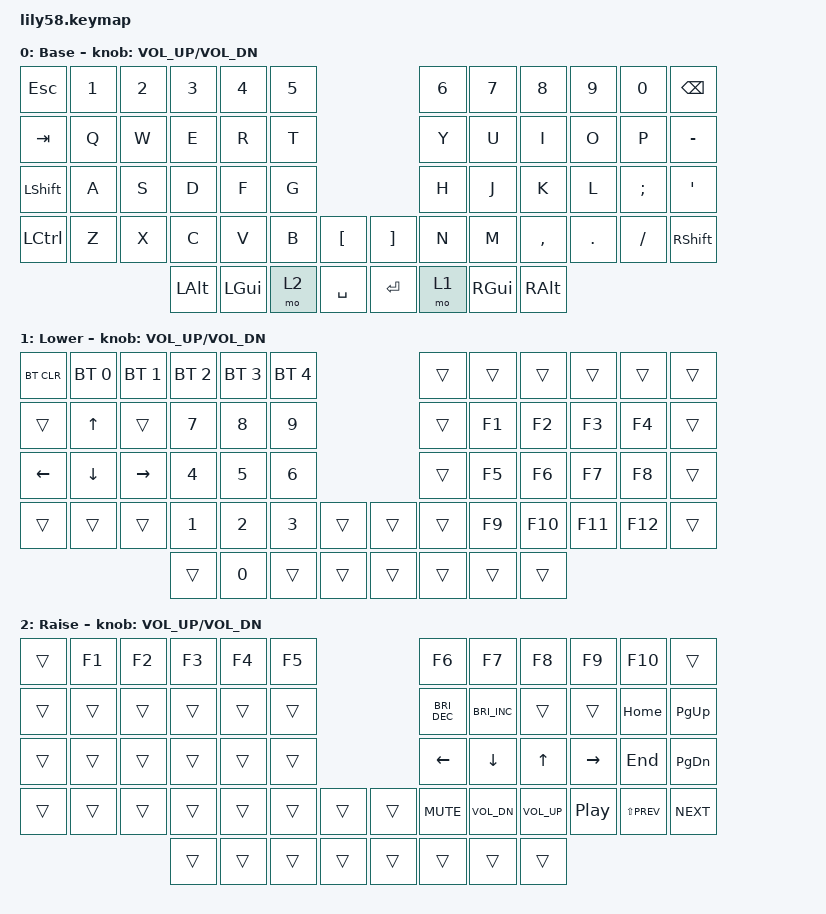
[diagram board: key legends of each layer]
/*
 * Copyright (c) 2020 The ZMK Contributors
 *
 * SPDX-License-Identifier: MIT
 */

#include <behaviors.dtsi>
#include <dt-bindings/zmk/bt.h>
#include <dt-bindings/zmk/keys.h>

/ {
    keymap {
        compatible = "zmk,keymap";

        default_layer {
            // ------------------------------------------------------------------------------------------------------------
            // |  ESC  |  1  |  2  |  3   |  4   |  5   |                   |  6   |  7    |  8    |  9   |   0   |   `   |
            // |  TAB  |  Q  |  W  |  E   |  R   |  T   |                   |  Y   |  U    |  I    |  O   |   P   |   -   |
            // |  CTRL |  A  |  S  |  D   |  F   |  G   |                   |  H   |  J    |  K    |  L   |   ;   |   '   |
            // | SHIFT |  Z  |  X  |  C   |  V   |  B   |   "["  |  |  "]"  |  N   |  M    |  ,    |  .   |   /   | SHIFT |
            //                     | ALT  | GUI  | LOWER|  SPACE |  | ENTER | RAISE| BSPC  | GUI   |

            display-name = "Base";
            bindings = <
&kp ESC         &kp N1  &kp N2  &kp N3    &kp N4    &kp N5                         &kp N6  &kp N7         &kp N8         &kp N9   &kp N0    &kp BACKSPACE
&kp TAB         &kp Q   &kp W   &kp E     &kp R     &kp T                          &kp Y   &kp U          &kp I          &kp O    &kp P     &kp MINUS
&kp LEFT_SHIFT  &kp A   &kp S   &kp D     &kp F     &kp G                          &kp H   &kp J          &kp K          &kp L    &kp SEMI  &kp SQT
&kp LCTRL       &kp Z   &kp X   &kp C     &kp V     &kp B   &kp LBKT     &kp RBKT  &kp N   &kp M          &kp COMMA      &kp DOT  &kp FSLH  &kp RSHFT
                                &kp LALT  &kp LGUI  &mo 2   &kp SPACE    &kp RET   &mo 1   &kp RIGHT_GUI  &kp RIGHT_ALT
            >;

            sensor-bindings = <&inc_dec_kp C_VOL_UP C_VOL_DN>;
        };

        lower_layer {
            // ------------------------------------------------------------------------------------------------------------
            // | BTCLR | BT1 | BT2 |  BT3 |  BT4 |  BT5 |                   |      |       |       |      |       |       |
            // |  F1   |  F2 |  F3 |  F4  |  F5  |  F6  |                   |  F7  |  F8   |  F9   |  F10 |  F11  |  F12  |
            // |   `   |  !  |  @  |  #   |  $   |  %   |                   |  ^   |  &    |  *    |  (   |   )   |   ~   |
            // |       |     |     |      |      |      |        |  |       |      |  _    |  +    |  {   |   }   |  "|"  |
            //                     |      |      |      |        |  |       |      |       |       |

            display-name = "Lower";
            bindings = <
&bt BT_CLR  &bt BT_SEL 0  &bt BT_SEL 1  &bt BT_SEL 2  &bt BT_SEL 3  &bt BT_SEL 4                    &trans  &trans  &trans   &trans   &trans   &trans
&trans      &kp UP        &trans        &kp N7        &kp N8        &kp N9                          &trans  &kp F1  &kp F2   &kp F3   &kp F4   &trans
&kp LEFT    &kp DOWN      &kp RIGHT     &kp N4        &kp N5        &kp NUMBER_6                    &trans  &kp F5  &kp F6   &kp F7   &kp F8   &trans
&trans      &trans        &trans        &kp N1        &kp N2        &kp N3        &trans    &trans  &trans  &kp F9  &kp F10  &kp F11  &kp F12  &trans
                                        &trans        &kp N0        &trans        &trans    &trans  &trans  &trans  &trans
            >;

            sensor-bindings = <&inc_dec_kp C_VOL_UP C_VOL_DN>;
        };

        raise_layer {
            // ------------------------------------------------------------------------------------------------------------
            // |       |     |     |      |      |      |                   |      |       |       |      |       |       |
            // |   `   |  1  |  2  |  3   |  4   |  5   |                   |  6   |   7   |   8   |  9   |   0   |       |
            // |   F1  |  F2 |  F3 |  F4  |  F5  |  F6  |                   |      |   <-  |   v   |  ^   |  ->   |       |
            // |   F7  |  F8 |  F9 |  F10 |  F11 |  F12 |        |  |       |  +   |   -   |   =   |  [   |   ]   |   \   |
            //                     |      |      |      |        |  |       |      |       |       |

            display-name = "Raise";
            bindings = <
&trans  &kp F1  &kp F2  &kp F3  &kp F4  &kp F5                    &kp F6         &kp F7         &kp F8        &kp F9            &kp F10         &trans
&trans  &trans  &trans  &trans  &trans  &trans                    &kp C_BRI_DEC  &kp C_BRI_INC  &trans        &trans            &kp HOME        &kp PAGE_UP
&trans  &trans  &trans  &trans  &trans  &trans                    &kp LEFT       &kp DOWN       &kp UP        &kp RIGHT         &kp END         &kp PAGE_DOWN
&trans  &trans  &trans  &trans  &trans  &trans  &trans    &trans  &kp C_MUTE     &kp C_VOL_DN   &kp C_VOL_UP  &kp C_PLAY_PAUSE  &kp LS(C_PREV)  &kp C_NEXT
                        &trans  &trans  &trans  &trans    &trans  &trans         &trans         &trans
            >;

            sensor-bindings = <&inc_dec_kp C_VOL_UP C_VOL_DN>;
        };

        extra_1 { status = "reserved"; };

        extra_2 { status = "reserved"; };

        extra_3 { status = "reserved"; };
    };
};
